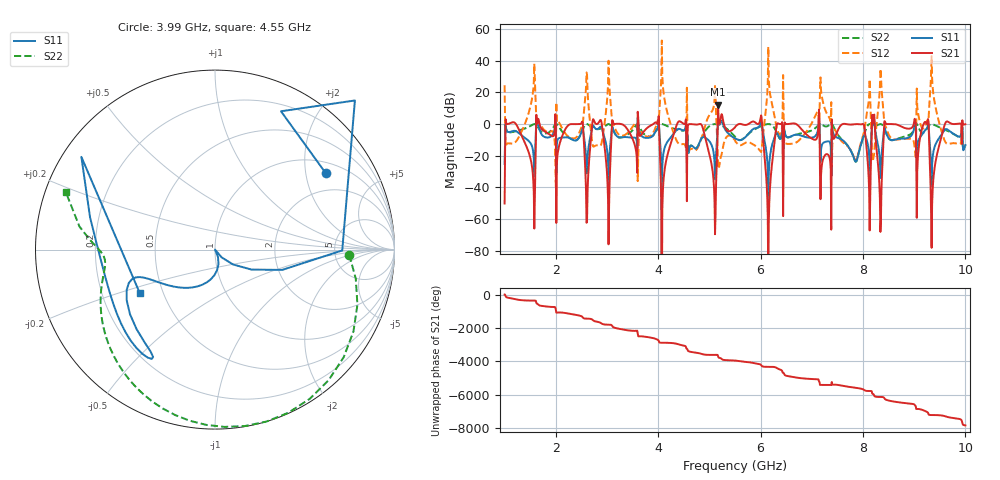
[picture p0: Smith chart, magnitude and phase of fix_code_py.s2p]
# Hz S RI R 50.0
!freq ReS11 ImS11 ReS21 ImS21 ReS12 ImS12 ReS22 ImS22
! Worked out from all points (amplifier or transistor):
!   901 points, 1 GHz to 10 GHz, reference 50 ohm
!   highest |S21| = 12.3 dB at 5.17 GHz (marker M1)
!   |S21| within 3 dB of that: 5.168399 GHz to 5.172981 GHz (4.582 MHz wide, 0.0886 % of centre)
!   unconditionally stable (mu >= 1): 5.346 GHz to 5.974 GHz; 6.46 GHz to 6.962 GHz; 7.443 GHz to 8 GHz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
!   at 2.5 GHz: K = 0.43, MSG = 1.4 dB, |S12| = -2.2 dB
!   at 5.5 GHz: K = 1.73, MAG = -0.9 dB, |S12| = -10.2 dB
!   at 10 GHz: K = 2.37, MAG = 0.3 dB, |S12| = -13.9 dB
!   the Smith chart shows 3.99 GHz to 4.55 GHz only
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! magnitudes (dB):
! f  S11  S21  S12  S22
! 1 GHz  -25.2  -50.2  24.5  0.0
! 2.5 GHz  -5.1  0.6  -2.2  -5.4
! 3.02 GHz  -23.7  -47.4  24.8  -0.1
! 3.14 GHz  -5.2  0.0  -1.4  -5.2
! 4 GHz  -1.4  1.1  2.6  -1.9
! 4.09 GHz  -21.6  -43.1  24.6  -0.1
! 4.4 GHz  -3.0  1.6  -12.4  -3.8
! 5.09 GHz  -20.1  -40.0  12.0  0.0
! 5.17 GHz  5.9  12.3  -27.7  -0.2
! 5.5 GHz  -9.0  -2.1  -10.2  -7.9
! 6 GHz  0.6  3.9  -17.5  -1.4
! 6.15 GHz  -51.2  -102.6  48.8  0.0
! 6.34 GHz  -6.9  0.5  -4.9  -7.1
! 7 GHz  -8.6  -9.1  0.6  -4.0
! 7.86 GHz  -23.8  0.0  -23.3  -23.8
! 8.12 GHz  -21.2  -42.3  17.4  -0.1
! 8.21 GHz  1.4  4.5  -20.4  -0.8
! 8.34 GHz  -34.1  -68.1  34.9  0.0
! 8.5 GHz  -8.9  0.1  -6.5  -8.9
! 9.24 GHz  -3.0  0.4  1.0  -3.3
! 9.35 GHz  -25.6  -51.0  28.8  0.0
! 10 GHz  -13.3  -0.1  -13.9  -13.3
